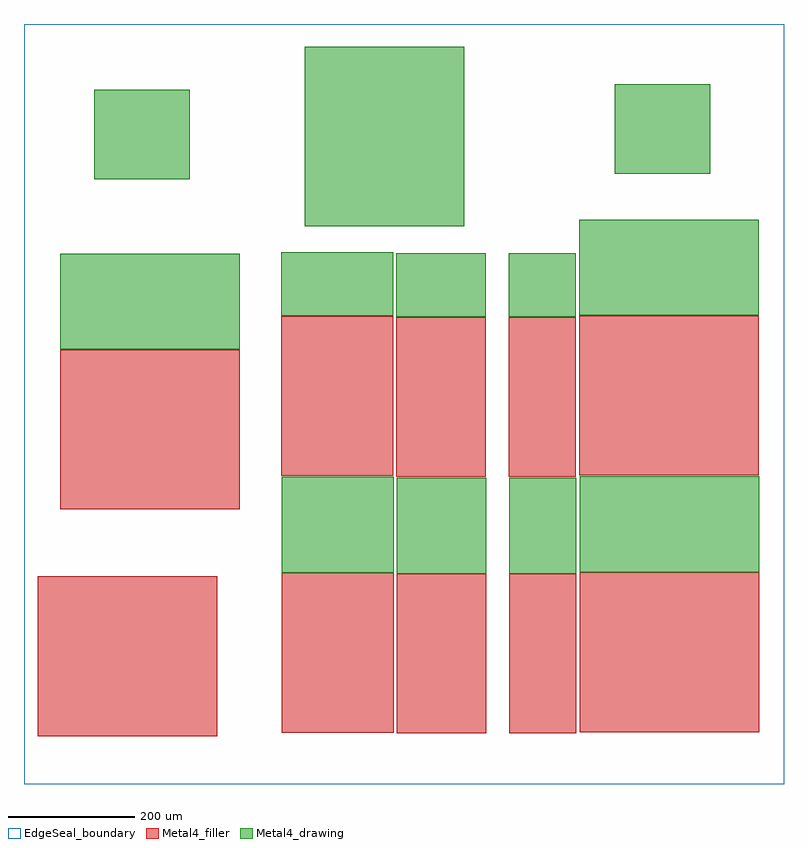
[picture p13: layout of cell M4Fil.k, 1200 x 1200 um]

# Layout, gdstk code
import gdstk
lib = gdstk.Library(unit=1e-6, precision=1e-09)
def R(c, l, rs):  # rectangles x0, y0, x1, y1
    for r in rs: c.add(gdstk.rectangle(r[:2], r[2:], *l))
def A(c, l, x, y, w, h, nx, ny, dx, dy):  # array of equal rectangles
    R(c, l, [(x+i*dx, y+j*dy, x+i*dx+w, y+j*dy+h) for i in range(nx) for j in range(ny)])
EdgeSeal_boundary = (39, 4)
Metal4_drawing = (50, 0)
Metal4_filler = (50, 22)

m4fil_k = lib.new_cell('M4Fil.k')
R(m4fil_k, EdgeSeal_boundary, [(0,0,1200,1200)])
A(m4fil_k, Metal4_drawing, 588.553, 332.34, 35, 50, 4, 3, 35.5, 50.5)
A(m4fil_k, Metal4_drawing, 766.053, 332.34, 35, 50, 3, 3, 35.5, 50.5)
A(m4fil_k, Metal4_drawing, 406.703, 333.772, 35, 50, 5, 3, 35.5, 50.5)
A(m4fil_k, Metal4_drawing, 877.169, 334.577, 35, 50, 8, 3, 35.5, 50.5)
A(m4fil_k, Metal4_drawing, 56.984, 686.085, 35, 50, 8, 3, 35.5, 50.5)
A(m4fil_k, Metal4_drawing, 587.855, 737.78, 35, 50, 4, 2, 35.5, 50.5)
A(m4fil_k, Metal4_drawing, 765.355, 737.78, 35, 50, 3, 2, 35.5, 50.5)
A(m4fil_k, Metal4_drawing, 406.005, 739.212, 35, 50, 5, 2, 35.5, 50.5)
A(m4fil_k, Metal4_drawing, 876.471, 740.017, 35, 50, 8, 3, 35.5, 50.5)
A(m4fil_k, Metal4_drawing, 443.264, 880.395, 50, 35, 5, 8, 50.5, 35.5)
A(m4fil_k, Metal4_drawing, 110.744, 954.8, 50, 35, 3, 4, 50.5, 35.5)
A(m4fil_k, Metal4_drawing, 932.374, 963.235, 50, 35, 3, 4, 50.5, 35.5)
A(m4fil_k, Metal4_filler, 21.749, 75.685, 35, 50, 8, 5, 35.5, 50.5)
A(m4fil_k, Metal4_filler, 588.553, 79.84, 35, 50, 4, 5, 35.5, 50.5)
A(m4fil_k, Metal4_filler, 766.053, 79.84, 35, 50, 3, 5, 35.5, 50.5)
A(m4fil_k, Metal4_filler, 406.703, 81.272, 35, 50, 5, 5, 35.5, 50.5)
A(m4fil_k, Metal4_filler, 877.169, 82.077, 35, 50, 8, 5, 35.5, 50.5)
A(m4fil_k, Metal4_filler, 56.984, 433.585, 35, 50, 8, 5, 35.5, 50.5)
A(m4fil_k, Metal4_filler, 587.855, 485.28, 35, 50, 4, 5, 35.5, 50.5)
A(m4fil_k, Metal4_filler, 765.355, 485.28, 35, 50, 3, 5, 35.5, 50.5)
A(m4fil_k, Metal4_filler, 406.005, 486.712, 35, 50, 5, 5, 35.5, 50.5)
A(m4fil_k, Metal4_filler, 876.471, 487.517, 35, 50, 8, 5, 35.5, 50.5)

lib.write_gds('M4Fil.k.gds')
